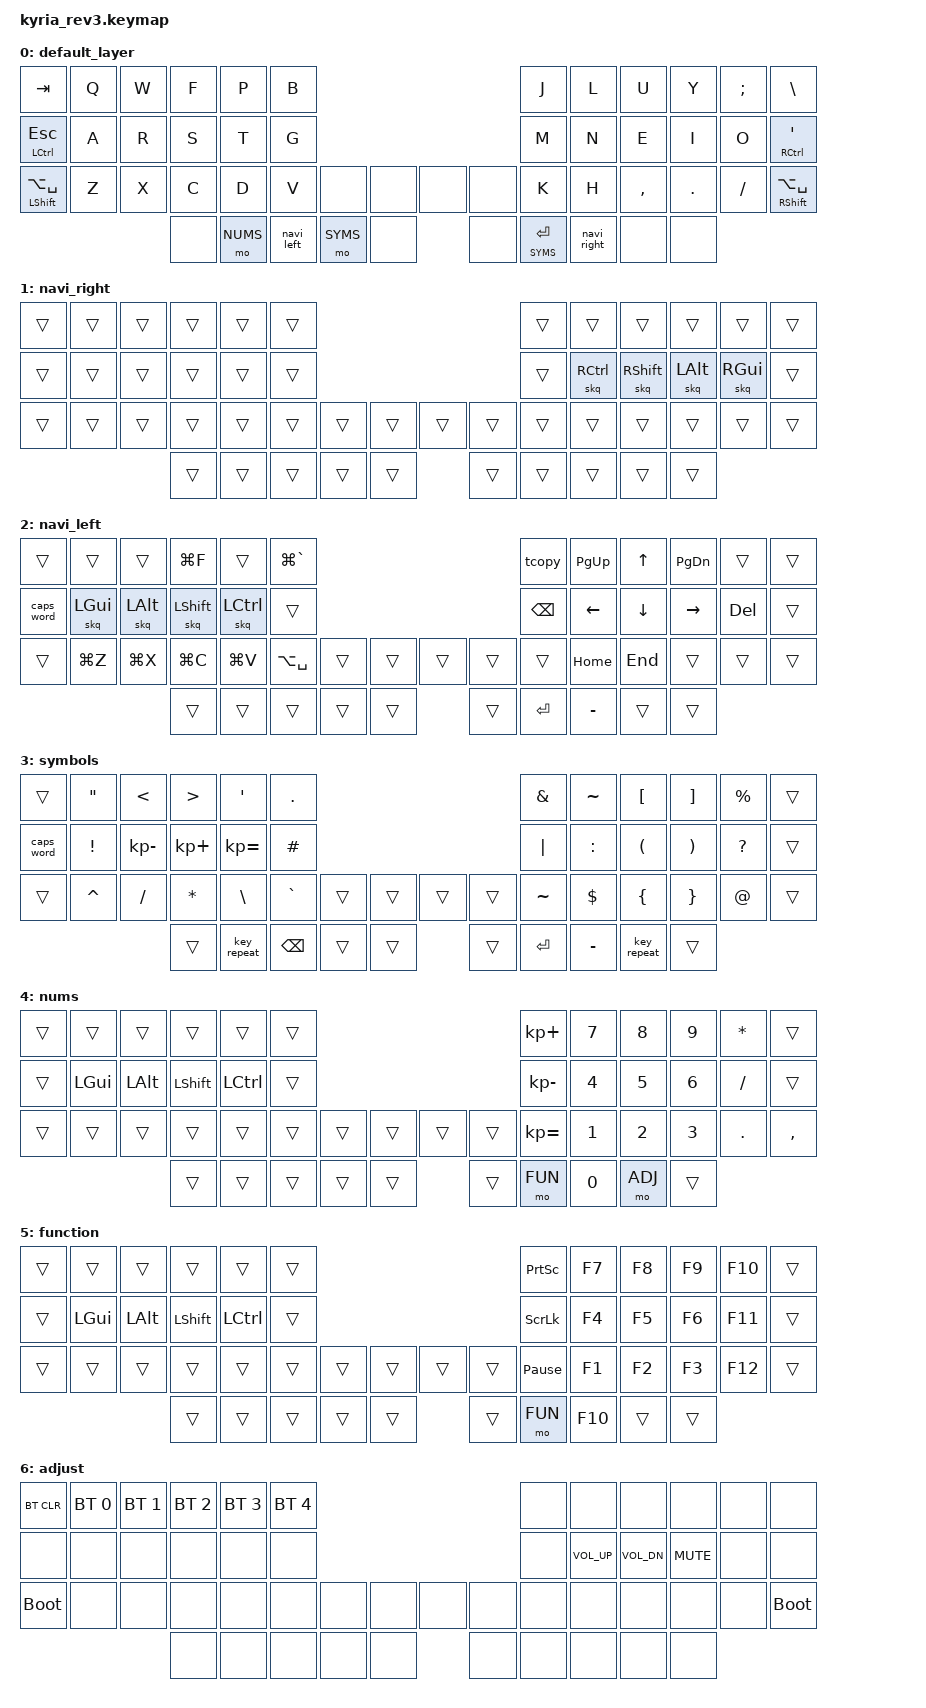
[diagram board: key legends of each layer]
/*
 * Copyright (c) 2023 The ZMK Contributors
 *
 * SPDX-License-Identifier: MIT
 */

#include <behaviors.dtsi>
#include <dt-bindings/zmk/bt.h>
#include <dt-bindings/zmk/keys.h>

#define NAVI_RIGHT 1
#define NAVI_LEFT 2
#define SYMS 3
#define NUMS 4
#define FUN 5
#define ADJ 6

#define RIGHT_HOME_ROW 20 21 22 23
#define TMUX LA(SPACE)

/ {
    macros {
        tcopy: tmux_copy_mode {
            label = "TMUX_COPY_MODE";
            compatible = "zmk,behavior-macro";
            #binding-cells = <0>;
            bindings
                = <&macro_tap &kp TMUX &kp LBKT>
                ;
        };

    };
};

/ {
    behaviors {

      mtq: mod_tap_quick_tap {
          compatible = "zmk,behavior-hold-tap";
          label = "MOD_TAP_WITH_QUICK_TAP";
          #binding-cells = <2>;
          tapping-term-ms = <200>;
          quick-tap-ms = <175>;
          flavor = "hold-preferred";
          bindings = <&kp>, <&kp>;
      };

      hm: homerow_mods {
          compatible = "zmk,behavior-hold-tap";
          label = "HOMEROW_MODS";
          #binding-cells = <2>;
          tapping-term-ms = <200>;
          quick-tap-ms = <175>;
          flavor = "tap-preferred";
          bindings = <&kp>, <&kp>;
      };

      navi_left: navi_left {
          compatible = "zmk,behavior-mod-morph";
          label = "NAVI_LEFT";
          #binding-cells = <0>;
          bindings = <&lm NAVI_LEFT BSPC>, <&kp DEL>;
          mods = <(MOD_LSFT|MOD_RSFT)>;
      };

      lm: layer_mod {
          compatible = "zmk,behavior-hold-tap";
          label = "LAYER_HOLD_TAP";
          #binding-cells = <2>;
          tapping-term-ms = <200>;
          quick-tap-ms = <200>;
          flavor = "tap-preferred";
          bindings = <&mo>, <&kp>;
      };

      lh: layer_hold_preferred {
          compatible = "zmk,behavior-hold-tap";
          label = "LAYER_HOLD_PREFERRED";
          #binding-cells = <2>;
          tapping-term-ms = <200>;
          quick-tap-ms = <200>;
          flavor = "hold-preferred";
          bindings = <&mo>, <&kp>;
      };

      navi_right: navi_right {
          compatible = "zmk,behavior-mod-morph";
          label = "NAVI_RIGHT";
          #binding-cells = <0>;
          bindings = <&hmr NAVI_RIGHT SPACE>, <&kp UNDER>;
          mods = <(MOD_LSFT|MOD_RSFT)>;
      };

      hmr: homerow_mod_right {
          compatible = "zmk,behavior-hold-tap";
          label = "HOMEROW_MOD_RIGHT";
          #binding-cells = <2>;
          tapping-term-ms = <150>;
          quick-tap-ms = <200>;
          global-quick-tap;
          flavor = "tap-preferred";
          bindings = <&mo>, <&kp>;
          hold-trigger-key-positions = <RIGHT_HOME_ROW>;
      };

      skq: sticky_key_quick_release {
          compatible = "zmk,behavior-sticky-key";
          label = "STICKY_KEY_QUICK_RELEASE";
          #binding-cells = <1>;
          bindings = <&kp>;
          release-after-ms = <1000>;
          quick-release;
          ignore-modifiers;
      };

    };

    keymap {
        compatible = "zmk,keymap";

        default_layer {
            // ---------------------------------------------------------------------------------------------------------------------------------
            // |  TAB     |  Q  |  W  |  F  |  P  |  B  |   |    J    |    L    |  U  |  Y  |  :  |  \   |
            // | ESC/CTRL |  A  |  R  |  S  |  T  |  V  |   |    M    |    N    |  E  |  I  |  O  |  "   |
            // | SHFT     |  Z  |  X  |  C  |  D  |  V  |   |    K    |    H    |  ,  |  .  |  /  | SHFT |
            //                  | NUM | BKSP/NAV  | SYM |   | RET/SYM | SPC/NAV |     |
                                    bindings = <
               &kp TAB        &kp Q &kp W &kp F    &kp P &kp B                                                      &kp J &kp L &kp U     &kp Y   &kp SEMI &kp BSLH
               &mtq LCTRL ESC &kp A &kp R &kp S    &kp T &kp G                                                      &kp M &kp N &kp E     &kp I   &kp O    &hm RCTRL SQT
               &mt LSHFT TMUX &kp Z &kp X &kp C    &kp D &kp V    &none      &none       &none          &none       &kp K &kp H &kp COMMA &kp DOT &kp FSLH &mt RSHFT TMUX
                                          &none &mo NUMS &navi_left &mo SYMS &none       &none          &lh SYMS ENTER &navi_right &none &none
               >;
        };

        navi_right {
            // -----------------------------------------------------------------------------------------
            // |      |     |     |     |     |     |   |     |      |      |     |     |      |
            // |      |     |     |     |     |     |   |     | CTRL | SHFT | ALT | GUI |      |
            // |      |     |     |     |     |     |   |     |      |      |     |     |      |
            //                    |     |     |     |   |     |      |      |
            bindings = <
               &trans &trans &trans &trans &trans &trans                                &trans &trans        &trans     &trans    &trans    &trans
               &trans &trans &trans &trans &trans &trans                                &trans &skq RCTRL    &skq RSHFT &skq LALT &skq RGUI &trans
               &trans &trans &trans &trans &trans &trans &trans &trans    &trans &trans &trans &trans        &trans     &trans    &trans    &trans
                                    &trans &trans &trans &trans &trans    &trans &trans &trans &trans &trans
            >;
        };

        navi_left {
            // -----------------------------------------------------------------------------------------
            // |      |      | GUI+F |       | GUI+`  |         |   | TCOPY | PG_UP | UP   | PG_DN |     |     |
            // | CAPS |  GUI | LALT  | SHFT  | LCTRL  |         |   | BSPC  | LEFT  | DOWN | RGHT  | DEL |     |
            // |      | GUI+Z| GUI+X | GUI+C | GUI+V  |  TMUX   |   |       | HOME  | END  |       |     |     |
            //                       |       | [NAVI] |         |   |  RET  |   -   |      |
            bindings = <
                &trans     &trans    &trans    &kp LG(F)  &trans      &kp LG(GRAVE)                               &tcopy    &kp PG_UP &kp UP   &kp PG_DN &trans  &trans
                &caps_word &skq LGUI &skq LALT &skq LSHFT &skq LCTRL  &trans                                      &kp BSPC  &kp LEFT  &kp DOWN &kp RIGHT &kp DEL &trans
                &trans     &kp LG(Z) &kp LG(X) &kp LG(C)  &kp LG(V)   &kp TMUX &trans &trans       &trans &trans  &trans    &kp HOME  &kp END  &trans    &trans  &trans
                                               &trans     &trans      &trans   &trans &trans       &trans &kp RET &kp MINUS &trans    &trans
            >;
        };

        symbols {
            // -----------------------------------------------------------------------------------------
            // |     |  "  |  <  |  >  |  '  |  .   |          |  &   |  ~  |  [  |  ]  |  %  |     |
            // | CAPS|  !  |  -  |  +  |  =  |  #   |          |  |   |  :  |  (  |  )  |  ?  |     |
            // |     |  ^  |  /  |  *  |  \  |  `   |          |  ~   |  $  |  {  |  }  |  @  |     |
            //                   | REP | BKSP|[SYMS]|          |[SYMS]| SPC | REP |
            bindings = <
                &trans     &kp DQT   &kp LT       &kp GT      &kp SQT      &kp DOT                                      &kp AMPS  &kp TILDE   &kp LBKT  &kp RBKT &kp PRCNT &trans
                &caps_word &kp EXCL  &kp KP_MINUS &kp KP_PLUS &kp KP_EQUAL &kp HASH                                     &kp PIPE  &kp COLON   &kp LPAR  &kp RPAR &kp QMARK &trans
                &trans     &kp CARET &kp FSLH     &kp STAR    &kp BSLH     &kp GRAVE &trans &trans       &trans &trans  &kp TILDE &kp DLLR    &kp LBRC  &kp RBRC &kp AT    &trans
                                                  &trans      &key_repeat  &kp BSPC  &trans &trans       &trans &kp RET &kp MINUS &key_repeat &trans
          >;
        };

        nums {
            // -----------------------------------------------------------------------------------------
            // |     |     |     |      |      |     |          |  +  |  7  |  8  |  9  |  *  |     |
            // |     | GUI | ALT | SHFT | CTRL |     |          |  -  |  4  |  5  |  6  |  /  |     |
            // |     |     |     |      |      |     |          |  =  |  1  |  2  |  3  |  .  |  ,  |
            //                   |[NUMS]|      |     |          | FUN |  0  | ADJ |
            bindings = <
                &trans &trans   &trans   &trans    &trans    &trans                                        &kp KP_PLUS  &kp N7  &kp N8 &kp N9 &kp STAR &trans
                &trans &kp LGUI &kp LALT &kp LSHFT &kp LCTRL &trans                                        &kp KP_MINUS &kp N4  &kp N5 &kp N6 &kp FSLH &trans
                &trans &trans   &trans   &trans    &trans    &trans  &trans &trans          &trans &trans  &kp KP_EQUAL &kp N1  &kp N2 &kp N3 &kp DOT  &kp COMMA
                                         &trans    &trans    &trans  &trans &trans          &trans &mo FUN &kp N0       &mo ADJ &trans
            >;
        };

    function {
// -----------------------------------------------------------------------------------------
// |     |     |     |      |      |     |          | PRINT |  F7  |  F8  |  F9  | F10 |     |
// |     | GUI | ALT | SHFT | CTRL |     |          | SCRLL |  F4  |  F5  |  F6  | F11 |     |
// |     |     |     |      |      |     |          | PAUSE |  F1  |  F2  |  F3  | F12 |     |
//                   |[NUMS]|      |     |          | [FUNC]|  F10 |      |
      bindings = <
        &trans &trans   &trans   &trans    &trans    &trans                                  &kp PSCRN       &kp F7 &kp F8 &kp F9 &kp F10 &trans
        &trans &kp LGUI &kp LALT &kp LSHFT &kp LCTRL &trans                                  &kp SLCK        &kp F4 &kp F5 &kp F6 &kp F11 &trans
        &trans &trans   &trans   &trans    &trans    &trans &trans &trans     &trans &trans  &kp PAUSE_BREAK &kp F1 &kp F2 &kp F3 &kp F12 &trans
                                 &trans    &trans    &trans &trans &trans     &trans &mo FUN &kp F10         &trans &trans
      >;
    };

    adjust {
// -----------------------------------------------------------------------------------------
// | BTCLR  | BT0 | BT1 | BT2 | BT3 | BT4 |          |     |        |        |      |     |        |
// |        |     |     |     |     |     |          |     | VOL_UP | VOL_DN | MUTE |     |        |
// | BOOTLD |     |     |     |     |     |          |     |        |        |      |     | BOOTLD |
//                      |     |     |     |          |     |        |        |
      bindings = <
        &bt BT_CLR  &bt BT_SEL 0 &bt BT_SEL 1 &bt BT_SEL 2 &bt BT_SEL 3 &bt BT_SEL 4                        &none &none        &none        &none      &none &none
        &none       &none        &none        &none        &none        &none                               &none &kp C_VOL_UP &kp C_VOL_DN &kp C_MUTE &none &none
        &bootloader &none        &none        &none        &none        &none &none &none       &none &none &none &none        &none        &none      &none &bootloader
                                              &none        &none        &none &none &none       &none &none &none &none        &none
      >;
    };
        };
};
